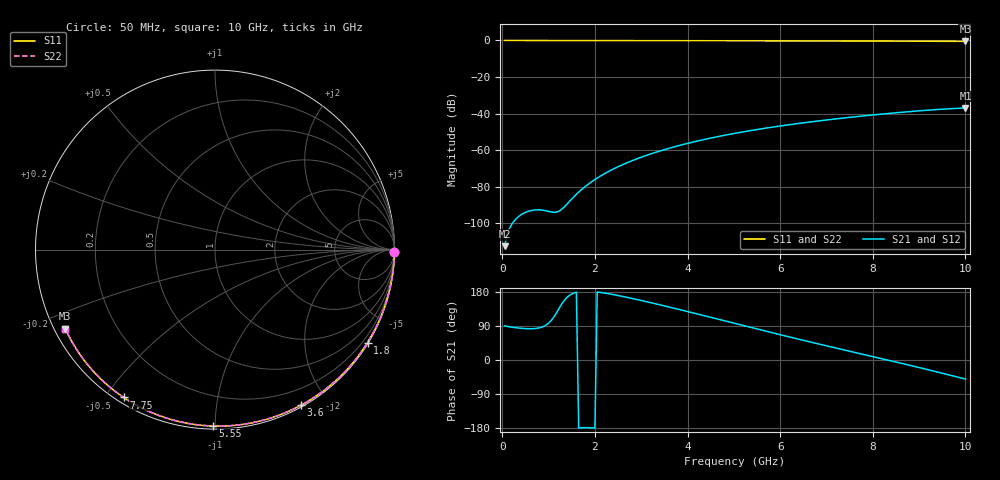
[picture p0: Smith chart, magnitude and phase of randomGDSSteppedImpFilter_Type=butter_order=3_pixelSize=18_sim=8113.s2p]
! freq	dB(S11)	phase(S11)	dB(S12)	phase(S12)
!  dB(S21)	phase(S21)	dB(S22)	phase(S22)
!S-par simulation data
#  GHz  S  DB  R 50
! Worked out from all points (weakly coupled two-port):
!   200 points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, 50 MHz to 10 GHz, reference 50 ohm
!   highest |S21| = -36.94 dB at 10 GHz (marker M1); lowest = -112.6 dB at 50 MHz (marker M2)
!   lowest |S11| = -0.5 dB at 10 GHz (marker M3), VSWR 34.13, Z = 1.55 - j12.4 ohm
!   |S11| at or under -10 dB: nowhere
!   |S22| runs from -0.5 to 0.0 dB; largest |S21 - S12| = 0
!   S11 on the Smith chart (normalised r, x): 50 MHz: open; 1.8 GHz: 0.03, -3.56; 3.6 GHz: 0.02, -1.70; 5.55 GHz: 0.02, -0.99; 7.75 GHz: 0.02, -0.56; 10 GHz: 0.03, -0.25
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0.05  -0.00 -0.9  -112.58 90.3  -112.58 90.3  -0.00 -0.9
0.5  -0.01 -8.8  -94.09 82.8  -94.09 82.8  -0.01 -8.8
0.9  -0.02 -15.8  -92.99 89.1  -92.99 89.1  -0.02 -15.8
1.3  -0.03 -22.8  -92.04 150.8  -92.04 150.8  -0.03 -22.8
1.75  -0.04 -30.5  -80.77 -178.6  -80.77 -178.6  -0.04 -30.5
1.8  -0.04 -31.3  -79.74 -178.5  -79.74 -178.5  -0.04 -31.3
1.95  -0.04 -33.9  -76.94 -179.3  -76.94 -179.3  -0.04 -33.9
2.1  -0.05 -36.4  -74.49 178.6  -74.49 178.6  -0.05 -36.4
2.45  -0.05 -42.3  -69.70 171.4  -69.70 171.4  -0.05 -42.3
2.65  -0.06 -45.6  -67.39 166.4  -67.39 166.4  -0.06 -45.6
2.9  -0.06 -49.7  -64.83 159.8  -64.83 159.8  -0.06 -49.7
3.4  -0.08 -57.8  -60.51 145.7  -60.51 145.7  -0.08 -57.8
3.6  -0.08 -61.0  -59.01 139.8  -59.01 139.8  -0.08 -61.0
4.3  -0.10 -72.0  -54.53 118.8  -54.53 118.8  -0.10 -72.0
5.05  -0.13 -83.4  -50.69 95.7  -50.69 95.7  -0.13 -83.4
5.55  -0.15 -90.8  -48.53 80.4  -48.53 80.4  -0.15 -90.8
6.1  -0.18 -98.7  -46.44 63.8  -46.44 63.8  -0.18 -98.7
6.7  -0.21 -107.2  -44.43 46.1  -44.43 46.1  -0.21 -107.2
7.75  -0.28 -121.7  -41.41 16.0  -41.41 16.0  -0.28 -121.7
8.35  -0.33 -129.9  -39.92 -1.0  -39.92 -1.0  -0.33 -129.9
9.2  -0.41 -141.3  -38.13 -25.8  -38.13 -25.8  -0.41 -141.3
10  -0.51 -152.2  -36.94 -50.2  -36.94 -50.2  -0.51 -152.2
